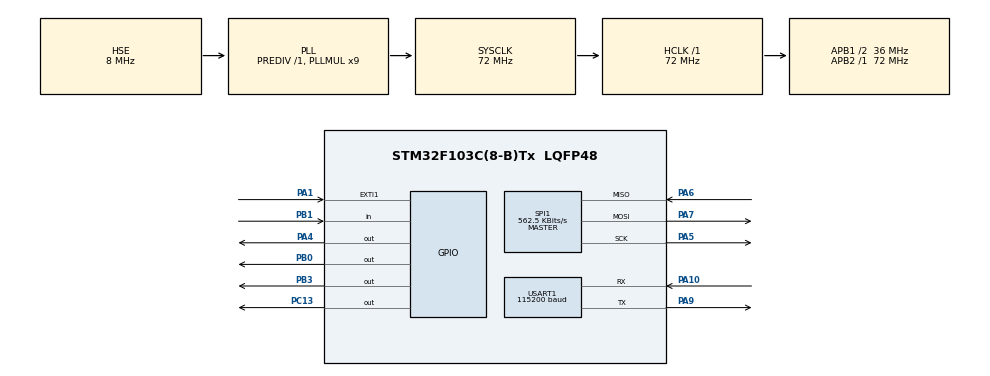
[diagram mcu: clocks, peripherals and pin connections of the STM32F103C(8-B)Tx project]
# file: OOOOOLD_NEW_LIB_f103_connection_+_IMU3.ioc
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Mcu.Family=STM32F1
Mcu.Name=STM32F103C(8-B)Tx
Mcu.Package=LQFP48
NVIC.EXTI1_IRQn=true\:0\:0\:false\:true\:true\:1\:true\:true\:true
NVIC.PriorityGroup=NVIC_PRIORITYGROUP_4
NVIC.TIM1_UP_IRQn=true\:0\:0\:false\:false\:true\:true\:true\:true
NVIC.USART1_IRQn=true\:0\:0\:false\:false\:true\:true\:true\:true
PA1.GPIO_PuPd=GPIO_PULLUP
PA1.Signal=GPXTI1
PA10.Mode=Asynchronous
PA10.Signal=USART1_RX
PA13.Mode=Serial_Wire
PA13.Signal=SYS_JTMS-SWDIO
PA14.Mode=Serial_Wire
PA14.Signal=SYS_JTCK-SWCLK
PA4.GPIO_PuPd=GPIO_NOPULL
PA4.GPIO_Speed=GPIO_SPEED_FREQ_HIGH
PA4.PinState=GPIO_PIN_SET
PA4.Signal=GPIO_Output
PA5.Mode=Full_Duplex_Master
PA5.Signal=SPI1_SCK
PA6.Mode=Full_Duplex_Master
PA6.Signal=SPI1_MISO
PA7.Mode=Full_Duplex_Master
PA7.Signal=SPI1_MOSI
PA9.Mode=Asynchronous
PA9.Signal=USART1_TX
PB0.GPIO_Speed=GPIO_SPEED_FREQ_HIGH
PB0.PinState=GPIO_PIN_RESET
PB0.Signal=GPIO_Output
PB1.GPIO_PuPd=GPIO_PULLUP
PB1.Signal=GPIO_Input
PB3.GPIO_PuPd=GPIO_PULLDOWN
PB3.GPIO_Speed=GPIO_SPEED_FREQ_HIGH
PB3.Signal=GPIO_Output
PC13-TAMPER-RTC.Signal=GPIO_Output
PD0-OSC_IN.Mode=HSE-External-Oscillator
PD0-OSC_IN.Signal=RCC_OSC_IN
PD1-OSC_OUT.Mode=HSE-External-Oscillator
PD1-OSC_OUT.Signal=RCC_OSC_OUT
ProjectManager.HeapSize=0x200
ProjectManager.StackSize=0x400
ProjectManager.TargetToolchain=STM32CubeIDE
RCC.AHBFreq_Value=72000000
RCC.APB1CLKDivider=RCC_HCLK_DIV2
RCC.APB1Freq_Value=36000000
RCC.APB1TimFreq_Value=72000000
RCC.APB2Freq_Value=72000000
RCC.APB2TimFreq_Value=72000000
RCC.HCLKFreq_Value=72000000
RCC.PLLMUL=RCC_PLL_MUL9
RCC.PLLSourceVirtual=RCC_PLLSOURCE_HSE
RCC.SYSCLKFreq_VALUE=72000000
RCC.SYSCLKSource=RCC_SYSCLKSOURCE_PLLCLK
RCC.USBFreq_Value=72000000
SPI1.BaudRatePrescaler=SPI_BAUDRATEPRESCALER_128
SPI1.CLKPhase=SPI_PHASE_2EDGE
SPI1.CLKPolarity=SPI_POLARITY_HIGH
SPI1.CalculateBaudRate=562.5 KBits/s
SPI1.Direction=SPI_DIRECTION_2LINES
SPI1.Mode=SPI_MODE_MASTER
SPI1.VirtualType=VM_MASTER
TIM1.Period=100
TIM1.Prescaler=7199
USART1.BaudRate=115200
USART1.VirtualMode=VM_ASYNC
USART1.WordLength=WORDLENGTH_8B
VP_TIM1_VS_ClockSourceINT.Mode=Internal
board=custom

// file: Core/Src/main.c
/* USER CODE BEGIN Header */
/**
  ******************************************************************************
  * @file           : main.c
  * @brief          : Main program body
  ******************************************************************************
  * @attention
  *
  * Copyright (c) 2023 STMicroelectronics.
  * All rights reserved.
  *
  * This software is licensed under terms that can be found in the LICENSE file
  * in the root directory of this software component.
  * If no LICENSE file comes with this software, it is provided AS-IS.
  *
  ******************************************************************************
  */
/* USER CODE END Header */
#include "main.h"
#include "spi.h"
#include "tim.h"
#include "usart.h"
#include "gpio.h"

/* USER CODE BEGIN Includes */
#include "MPU9250.h"
#include "vector.h"
#include <string.h>
#include "BMP_280_My.h"
/* USER CODE END Includes */

/* USER CODE BEGIN PV */
//******FOR_BMP280******************

float temp = 0;
int16_t Pressure = 0;

//******FOR_MPU9250******************
uint8_t cnt=0;
Vector3f MagShift,AccShift,GyroShift;
Matrix3f MagCalibr, AccCalibr;
Vector3f Mag, Acc, Mag0, Gyr;
Vector3f MagR, AccR;

int16_t AccData[3];
int16_t MagData[3];
int16_t GyroData[3];

Vector3f Mag, Acc;

Vector3f vX, vY, vZ;
Matrix3f M0, M1, M2, M3;
Vector3f Euler;
Vector3f EulerF;
Vector3f EulerF2;
int optimer=0;
uint16_t Code=0;

uint8_t bufArd[30];
uint8_t testerspec[30];
char str0[100];
char str1[100];
/* USER CODE END PV */

void SystemClock_Config(void);
static void MX_NVIC_Init(void);

int main(void)
{

  /* MCU Configuration--------------------------------------------------------*/

  /* Reset of all peripherals, Initializes the Flash interface and the Systick. */
  HAL_Init();

  /* Configure the system clock */
  SystemClock_Config();

  /* Initialize all configured peripherals */
  MX_GPIO_Init();
  MX_USART1_UART_Init();
  MX_SPI1_Init();
  MX_TIM1_Init();

  /* Initialize interrupts */
  MX_NVIC_Init();
  /* USER CODE BEGIN 2 */

  int st;

  	MagShift[0] = 41.616649f;
  	MagShift[1] = 39.388807f;
  	MagShift[2] = -164.968190f;

  	MagCalibr[0][0] = 1.008692f;
  	MagCalibr[0][1] = 0.009086f;
  	MagCalibr[0][2] = -0.002774f;

  	MagCalibr[1][0] = 0.009086f;
  	MagCalibr[1][1] = 1.055844f;
  	MagCalibr[1][2] = 0.017625f;

  	MagCalibr[2][0] = -0.002774f;
  	MagCalibr[2][1] = 0.017625f;
  	MagCalibr[2][2] = 0.998143f;

	AccShift[0]=18.204330f;
	AccShift[1]=1.946967f;
	AccShift[2]=25.956847f;

	AccCalibr[0][0]=1.023314f;
	AccCalibr[0][1]=-0.004549f;
	AccCalibr[0][2]=0.001297f;

	AccCalibr[1][0]=-0.004549f;
	AccCalibr[1][1]=0.997855f;
	AccCalibr[1][2]=-0.000489f;

	AccCalibr[2][0]=0.001297f;
	AccCalibr[2][1]=-0.000489f;
	AccCalibr[2][2]=1.018328f;

  	GyroShift[0]=90.37f;
  	GyroShift[1]=34.80f;
  	GyroShift[2]=-19.44f;

  	uint8_t flag_for_data_capturing = 0;

	st = MPU_begin();
	HAL_Delay(100);
	setSrd(0);
	HAL_Delay(100);

	// BMP280 INIT
	BMP280_Init();
	GPIOC->ODR ^= 1<<13;
	HAL_Delay(200);
	GPIOC->ODR ^= 1<<13;
	HAL_TIM_Base_Start_IT(&htim1);
	uint8_t buff[200] = {0,};
	extern uint8_t Y_Lable;
  /* USER CODE END 2 */

  /* Infinite loop */
  /* USER CODE BEGIN WHILE */
  while (1)
  {
	  if (GPIOB->IDR & (1<<1))
	  {
		  Y_Lable = 0;
		  GPIOC->ODR |= (1<<13);
	  }
	  else
	  {
		  Y_Lable = 1;
		  GPIOC->ODR &= ~(1<<13);
	  }

    /* USER CODE END WHILE */

  }
}

void SystemClock_Config(void)
{
  RCC_OscInitTypeDef RCC_OscInitStruct = {0};
  RCC_ClkInitTypeDef RCC_ClkInitStruct = {0};

  /** Initializes the RCC Oscillators according to the specified parameters
  * in the RCC_OscInitTypeDef structure.
  */
  RCC_OscInitStruct.OscillatorType = RCC_OSCILLATORTYPE_HSE;
  RCC_OscInitStruct.HSEState = RCC_HSE_ON;
  RCC_OscInitStruct.HSEPredivValue = RCC_HSE_PREDIV_DIV1;
  RCC_OscInitStruct.HSIState = RCC_HSI_ON;
  RCC_OscInitStruct.PLL.PLLState = RCC_PLL_ON;
  RCC_OscInitStruct.PLL.PLLSource = RCC_PLLSOURCE_HSE;
  RCC_OscInitStruct.PLL.PLLMUL = RCC_PLL_MUL9;
  if (HAL_RCC_OscConfig(&RCC_OscInitStruct) != HAL_OK)
  {
    Error_Handler();
  }

  /** Initializes the CPU, AHB and APB buses clocks
  */
  RCC_ClkInitStruct.ClockType = RCC_CLOCKTYPE_HCLK|RCC_CLOCKTYPE_SYSCLK
                              |RCC_CLOCKTYPE_PCLK1|RCC_CLOCKTYPE_PCLK2;
  RCC_ClkInitStruct.SYSCLKSource = RCC_SYSCLKSOURCE_PLLCLK;
  RCC_ClkInitStruct.AHBCLKDivider = RCC_SYSCLK_DIV1;
  RCC_ClkInitStruct.APB1CLKDivider = RCC_HCLK_DIV2;
  RCC_ClkInitStruct.APB2CLKDivider = RCC_HCLK_DIV1;

  if (HAL_RCC_ClockConfig(&RCC_ClkInitStruct, FLASH_LATENCY_2) != HAL_OK)
  {
    Error_Handler();
  }
}

/**
  * @brief NVIC Configuration.
  * @retval None
  */
static void MX_NVIC_Init(void)
{
  /* EXTI1_IRQn interrupt configuration */
  HAL_NVIC_SetPriority(EXTI1_IRQn, 0, 0);
  HAL_NVIC_EnableIRQ(EXTI1_IRQn);
}

/* USER CODE BEGIN 4 */
void HAL_TIM_PeriodElapsedCallback(TIM_HandleTypeDef *htim)
		  {
	  	  	  readSensor3(AccData, MagData, GyroData);
	  	  	  calibrateData();

	  	  	  Pressure = (int16_t)(get_diff_preasure()*100);

	  	  	  snprintf(str1, 100, "%.3f,%.3f,%.3f,%.3f,%.3f,%.3f,%.3f,%.3f,%.3f,%.f,%d",
			  	  	  	  (float)Acc[0], (float)Acc[1], (float)Acc[2],
						  (float)Gyr[0], (float)Gyr[1], (float)Gyr[2],
						  (float)Mag[0], (float)Mag[1], (float)Mag[2],
						  (float)Pressure, (uint8_t)Y_Lable);

	  	  	HAL_UART_Transmit_IT(&huart1, (char*)str1, strlen(str1));
		  }

void ProcessHeadTracking()
{
	readSensor3(AccData, MagData, GyroData);
	calibrateData();
	processEulerMatrix();
	processArduinoReport();
}

void SendTestData()
{
	readSensor3(AccData, MagData, GyroData);
	calibrateData();
	processEulerMatrix();
	sprintf(str0, "%08d;%08d;%08d\r\n", (int16_t)Euler[0], (int16_t)Euler[1], (int16_t)Euler[2]);
	HAL_UART_Transmit_IT(&huart1, (uint8_t*)str0, strlen(str0));
}

void calibrateData()
  {
	  MagR[0]=(float)MagData[0]-MagShift[0];
	  MagR[1]=(float)MagData[1]-MagShift[1];
	  MagR[2]=(float)MagData[2]-MagShift[2];
	  V3fTransform(MagR, MagCalibr, Mag0);
	  Mag[0] = Mag0[1];
	  Mag[1] = Mag0[0];
	  Mag[2] = -Mag0[2];
	  AccR[0]=(float)AccData[0]-AccShift[0];
	  AccR[1]=(float)AccData[1]-AccShift[1];
	  AccR[2]=(float)AccData[2]-AccShift[2];
	  V3fTransform(AccR, AccCalibr, Acc);
	  Gyr[0]=(float)GyroData[0]-GyroShift[0];
	  Gyr[1]=(float)GyroData[1]-GyroShift[1];
	  Gyr[2]=(float)GyroData[2]-GyroShift[2];

  }

void processEulerMatrix()
{
	  V3fReject(Mag, Acc, vX);
	  V3fNormalizeSelf(vX);
	  V3fNormalize(Acc, vZ);

	  V3fCross(vZ,vX,vY);
	  M3fSetRow(M1,vX,0);
	  M3fSetRow(M1,vY,1);
	  M3fSetRow(M1,vZ,2);

	  uint8_t ttt= M3fInvert(M1, M3);

	  M3fMultiply(M3, M0, M2);
	  M3fGetEuler(M2, Euler);

	  V3fMult(Euler, 1);

	  EulerF[0]=((EulerF[0]-(float)GyroData[0]*0.0000065f)*0.9995f) + (Euler[0]*0.0005f);
	  EulerF[1]=((EulerF[1]-(float)GyroData[1]*0.0000065f)*0.9995f) + (Euler[1]*0.0005f);
	  EulerF[2]=((EulerF[2]-(float)GyroData[2]*0.0000065f)*0.9995f) + (Euler[2]*0.0005f);

}

void TransmitSensorData()
{
	  readSensor();

	  snprintf(str1, 100, "%08d;%08d;%08d;%08d;%08d;%08d;%08d;%08d;%08d\n",
			  	  	  	  (int16_t)_axcounts, (int16_t)_aycounts, (int16_t)_azcounts,
						  (int16_t)_hxcounts, (int16_t)_hycounts, (int16_t)_hzcounts,
						  (int16_t)_gxcounts, (int16_t)_gycounts, (int16_t)_gzcounts);

	  HAL_UART_Transmit_IT(&huart1, (uint8_t*)str1, strlen(str1));
}

void processArduinoReport()
  {
	optimer++;
	if (optimer>10000) {optimer=0;}
		  	EulerF2[0]=EulerF2[0]*0.9f+EulerF[0]*0.1f;
		  	EulerF2[1]=EulerF2[1]*0.9f+EulerF[1]*0.1f;
		  	EulerF2[2]=EulerF2[2]*0.9f+EulerF[2]*0.1f;

	  	  if (optimer%1==0)
	  	  {
	  		Code++;
	  		if (Code>999) Code=0;

			bufArd[0]=(uint8_t)(0xAA);
			bufArd[1]=(uint8_t)(0xAA);
			bufArd[2]=(uint8_t)Code;
			bufArd[3]=(uint8_t)(Code>>8);

			bufArd[4]=(uint8_t)0x00;
			bufArd[5]=(uint8_t)0x00;
			bufArd[6]=(uint8_t)0x00;
			bufArd[7]=(uint8_t)0x00;

			bufArd[8]=(uint8_t)0x00;
			bufArd[9]=(uint8_t)0x00;
			bufArd[10]=(uint8_t)0x00;
			bufArd[11]=(uint8_t)0x00;

			bufArd[12]=(uint8_t)0x00;
			bufArd[13]=(uint8_t)0x00;
			bufArd[14]=(uint8_t)0x00;
			bufArd[15]=(uint8_t)0x00;

			bufArd[16]=(uint8_t) 0x00;
			bufArd[17]=(uint8_t) 0x00;
			bufArd[18]=(uint8_t) 0x00;
			bufArd[19]=(uint8_t) 0x00;

			bufArd[20]=(uint8_t) 0x00;
			bufArd[21]=(uint8_t) 0x00;
			bufArd[22]=(uint8_t) 0x00;
			bufArd[23]=(uint8_t) 0x00;

			bufArd[24]=(uint8_t) 0x00;
			bufArd[25]=(uint8_t) 0x00;
			bufArd[26]=(uint8_t) 0x00;
			bufArd[27]=(uint8_t) 0x00;

			bufArd[28]=(uint8_t)(0x55);
			bufArd[29]=(uint8_t)(0x55);

			floatToByteArray(EulerF2[0],bufArd,4);
			floatToByteArray(EulerF2[1],bufArd,8);
			floatToByteArray(EulerF2[2],bufArd,12);

			//HAL_UART_Transmit_IT(&huart1, (uint8_t*)bufArd, 30);

	      	  sprintf(testerspec, "%0.4f;%0.4f;%0.4ff\n", EulerF2[0], EulerF2[1], EulerF2[2]);

	      	  HAL_UART_Transmit_IT(&huart1, (uint8_t*)testerspec, strlen(testerspec));

	  	 }
  }

void HAL_GPIO_EXTI_Callback(uint16_t GPIO_Pin)
{
	M3fDupe(M1, M0);
	HAL_GPIO_TogglePin(GPIOC, GPIO_PIN_13);
}

/* USER CODE END 4 */

void Error_Handler(void)
{
  __disable_irq();
  while (1)
  {
  }
}
